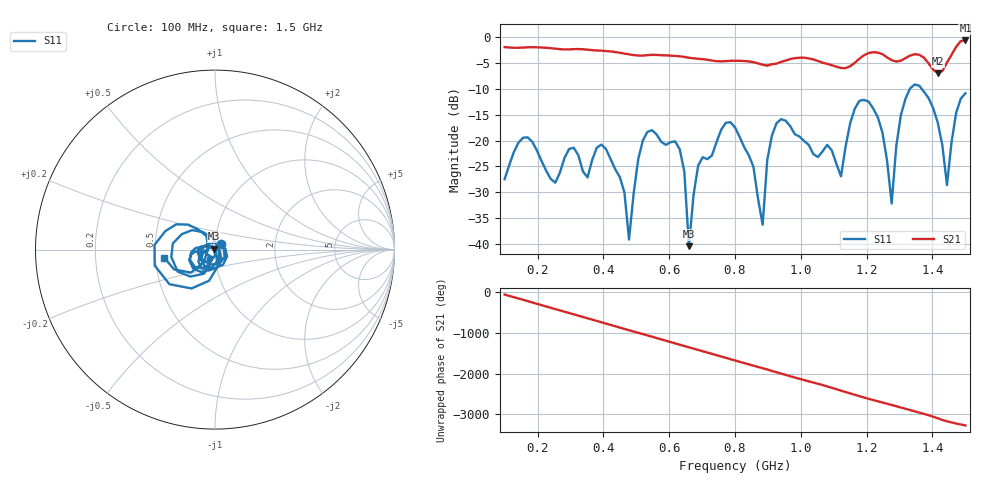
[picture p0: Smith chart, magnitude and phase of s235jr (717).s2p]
! NanoVNA-App
! Date: 2025-09-25 15:09:45
! Start: 100MHz Stop: 1,5GHz Points: 101
! S-Parameter data: F S11 S21 S12 S22
# Hz S RI R 50
!  Frequency  S11_Real  S11_Imag  S21_Real  S21_Imag  S12_Real  S12_Imag  S22_Real  S22_Imag
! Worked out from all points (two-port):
!   101 points, 100 MHz to 1.5 GHz, reference 50 ohm
!   highest |S21| = -0.68 dB at 1.5 GHz (marker M1); lowest = -7.0 dB at 1.416 GHz (marker M2)
!   |S21| within 3 dB of the highest: start of sweep to 620.9 MHz; 1.189 GHz to 1.256 GHz (67.1 MHz wide, 5.49 % of centre) (the widest 2 of 4)
!   lowest |S11| = -40.4 dB at 660 MHz (marker M3), VSWR 1.02, Z = 49.2 + j0.554 ohm
!   |S11| at or under -10 dB: start of sweep to 1.332 GHz; 1.367 GHz to end of sweep
!   S12 and S22 are empty: the file has one direction only
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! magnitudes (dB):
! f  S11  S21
! 100 MHz  -27.5  -2.0
! 156 MHz  -19.5  -2.1
! 338 MHz  -26.0  -2.4
! 408 MHz  -21.6  -2.7
! 478 MHz  -39.1  -3.4
! 520 MHz  -20.0  -3.6
! 576 MHz  -20.2  -3.5
! 632 MHz  -21.7  -3.7
! 660 MHz  -40.4  -4.0
! 688 MHz  -24.8  -4.2
! 800 MHz  -17.5  -4.6
! 884 MHz  -36.3  -5.4
! 926 MHz  -16.7  -5.2
! 1.038 GHz  -22.6  -4.3
! 1.122 GHz  -26.9  -6.0
! 1.206 GHz  -12.5  -3.1
! 1.276 GHz  -32.2  -4.5
! 1.304 GHz  -15.1  -4.6
! 1.332 GHz  -9.9  -3.6
! 1.416 GHz  -16.5  -7.0
! 1.444 GHz  -28.6  -4.9
! 1.5 GHz  -10.9  -0.7
